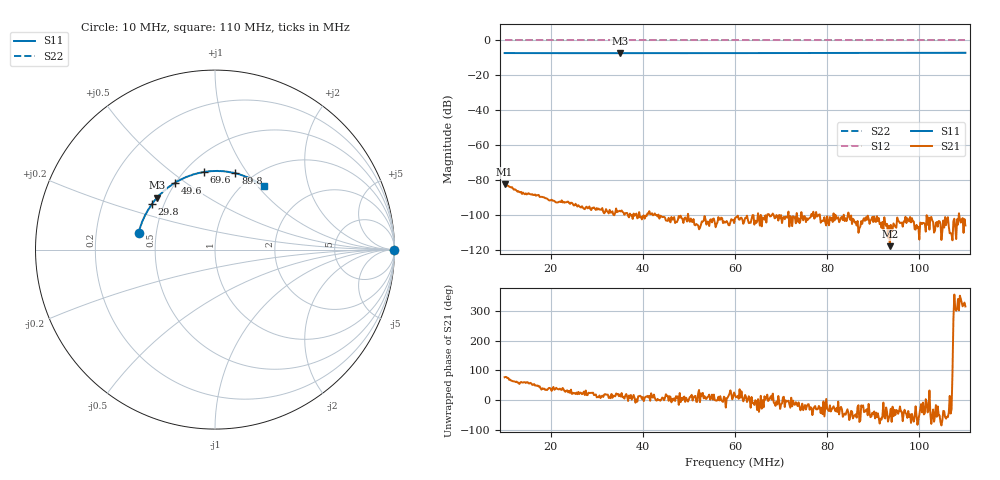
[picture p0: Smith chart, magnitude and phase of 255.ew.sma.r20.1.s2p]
! Anritsu VNA Master:  Model: MS2036C/10/77
! SN:  1601066
! /card0/usr/255.ew.sma.r20.1.s2p
! Existing Calibration Information:
! TYPE:  Current Settings,  Active Cal Settings
! TIME:  12/19/2017 06:06:42 PM,  12/19/2017 06:04:41 PM
! INTERNAL TEMP:  40.0 C,  39.8 C
! # POINTS:  501,  501
! START FREQ:  10.000 MHz,  10.000 MHz
! STOP FREQ:  110.000 MHz,  110.000 MHz
! SOURCE POWER:  High,  High
! IFBW:  100 Hz,  100 Hz
! AVG FACTOR:  1 ,  1
! REF PLANE 1:  0 mm,  0 mm
! REF PLANE 2:  0 mm,  0 mm
! CAL TYPE:  Full S11,  Full S11
! CAL METHOD:  SOLT,  SOLT
! CAL LINE TYPE:  Coax,  Coax
! DUT PORT 1:  N-Conn(F),  N-Conn(F)
! DUT PORT 2:  K-Conn(F),  K-Conn(F)
! CAL STATUS:  OK: Accuracy High,  --
# GHZ S DB R 50.0
! FREQ.GHZ  S11DB  S11A  S21DB  S21A  S12DB  S12A  S22DB  S22A
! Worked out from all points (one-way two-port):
!   501 points, 10 MHz to 110 MHz, reference 50 ohm
!   highest |S21| = -82.23 dB at 10 MHz (marker M1); lowest = -117.6 dB at 93.6 MHz (marker M2)
!   lowest |S11| = -7.3 dB at 35 MHz (marker M3), VSWR 2.52, Z = 22.2 + j15.8 ohm
!   |S11| at or under -10 dB: nowhere
!   |S22| runs from 0.0 to 0.0 dB; largest |S21 - S12| = 1
!   S11 on the Smith chart (normalised r, x): 10 MHz: 0.40, +0.09; 29.8 MHz: 0.43, +0.27; 49.6 MHz: 0.50, +0.45; 69.6 MHz: 0.62, +0.66; 89.8 MHz: 0.83, +0.88; 110 MHz: 1.22, +1.07
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0.01  -7.21 167.8  -82.23 77.1  0.00 0.0  0.00 0.0
0.018  -7.24 158.2  -89.41 35.7  0.00 0.0  0.00 0.0
0.022  -7.26 153.5  -92.17 38.8  0.00 0.0  0.00 0.0
0.0268  -7.28 147.8  -94.79 20.2  0.00 0.0  0.00 0.0
0.0298  -7.26 144.4  -96.92 19.4  0.00 0.0  0.00 0.0
0.0334  -7.26 140.2  -97.71 8.1  0.00 0.0  0.00 0.0
0.035  -7.28 138.1  -97.41 19.0  0.00 0.0  0.00 0.0
0.0374  -7.25 135.4  -100.10 17.6  0.00 0.0  0.00 0.0
0.0434  -7.25 128.2  -99.58 0.7  0.00 0.0  0.00 0.0
0.0496  -7.26 121.1  -103.55 0.6  0.00 0.0  0.00 0.0
0.055  -7.23 114.8  -104.05 18.7  0.00 0.0  0.00 0.0
0.06  -7.23 109.2  -101.65 18.2  0.00 0.0  0.00 0.0
0.0624  -7.21 106.3  -101.51 10.8  0.00 0.0  0.00 0.0
0.0696  -7.19 98.0  -99.76 -5.1  0.00 0.0  0.00 0.0
0.0768  -7.17 89.8  -100.35 -50.2  0.00 0.0  0.00 0.0
0.0842  -7.14 81.4  -103.29 -40.1  0.00 0.0  0.00 0.0
0.0898  -7.13 75.1  -100.87 -42.2  0.00 0.0  0.00 0.0
0.0934  -7.12 71.1  -105.96 -59.0  0.00 0.0  0.00 0.0
0.0936  -7.12 70.9  -117.65 -50.9  0.00 0.0  0.00 0.0
0.1006  -7.09 63.0  -105.03 -40.8  0.00 0.0  0.00 0.0
0.1056  -7.07 57.3  -101.01 -57.1  0.00 0.0  0.00 0.0
0.11  -7.06 52.5  -105.81 -44.9  0.00 0.0  0.00 0.0
